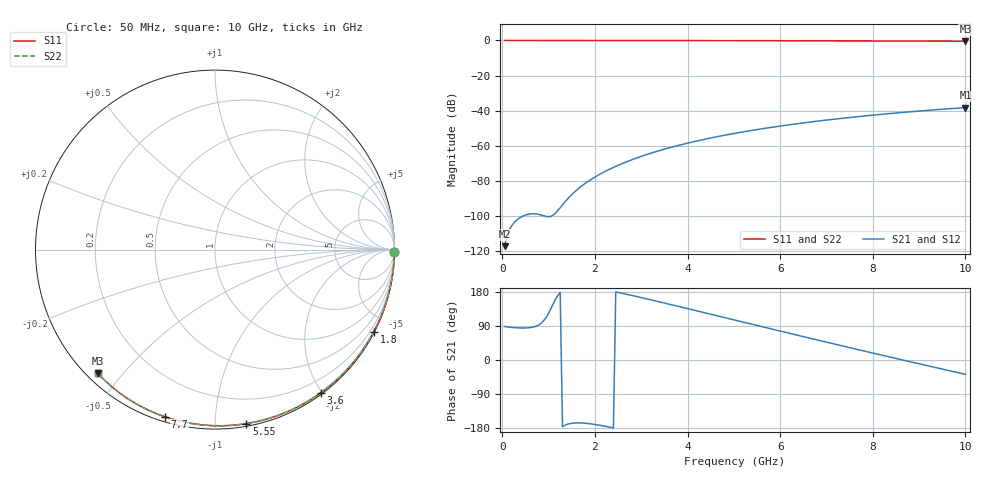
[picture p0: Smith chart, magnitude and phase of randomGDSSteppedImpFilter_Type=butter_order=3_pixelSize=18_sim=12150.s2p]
! freq	dB(S11)	phase(S11)	dB(S12)	phase(S12)
!  dB(S21)	phase(S21)	dB(S22)	phase(S22)
!S-par simulation data
#  GHz  S  DB  R 50
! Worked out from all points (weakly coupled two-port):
!   200 points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, 50 MHz to 10 GHz, reference 50 ohm
!   highest |S21| = -38.25 dB at 10 GHz (marker M1); lowest = -117.2 dB at 50 MHz (marker M2)
!   lowest |S11| = -0.5 dB at 10 GHz (marker M3), VSWR 38.53, Z = 1.54 - j21.4 ohm
!   |S11| at or under -10 dB: nowhere
!   |S22| runs from -0.5 to 0.0 dB; largest |S21 - S12| = 0
!   S11 on the Smith chart (normalised r, x): 50 MHz: open; 1.8 GHz: 0.04, -4.11; 3.6 GHz: 0.02, -1.99; 5.55 GHz: 0.02, -1.20; 7.7 GHz: 0.02, -0.75; 10 GHz: 0.03, -0.43
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0.05  -0.00 -0.8  -117.21 88.5  -117.21 88.5  -0.00 -0.8
0.9  -0.02 -13.8  -99.94 104.8  -99.94 104.8  -0.02 -13.8
1.75  -0.03 -26.6  -82.22 -166.5  -82.22 -166.5  -0.03 -26.6
1.8  -0.03 -27.3  -81.27 -167.0  -81.27 -167.0  -0.03 -27.3
1.85  -0.04 -28.1  -80.36 -167.6  -80.36 -167.6  -0.04 -28.1
1.9  -0.04 -28.8  -79.49 -168.4  -79.49 -168.4  -0.04 -28.8
2.05  -0.04 -31.0  -77.07 -171.1  -77.07 -171.1  -0.04 -31.0
2.25  -0.04 -34.0  -74.23 -175.5  -74.23 -175.5  -0.04 -34.0
2.45  -0.05 -36.9  -71.72 179.6  -71.72 179.6  -0.05 -36.9
2.65  -0.05 -39.8  -69.48 174.4  -69.48 174.4  -0.05 -39.8
3  -0.06 -44.9  -66.05 164.7  -66.05 164.7  -0.06 -44.9
3.4  -0.07 -50.6  -62.70 153.3  -62.70 153.3  -0.07 -50.6
3.6  -0.07 -53.4  -61.21 147.5  -61.21 147.5  -0.07 -53.4
4.3  -0.09 -63.1  -56.69 126.8  -56.69 126.8  -0.09 -63.1
5.05  -0.11 -73.2  -52.78 104.5  -52.78 104.5  -0.11 -73.2
5.55  -0.13 -79.8  -50.55 89.7  -50.55 89.7  -0.13 -79.8
6.1  -0.15 -86.9  -48.39 73.4  -48.39 73.4  -0.15 -86.9
6.7  -0.18 -94.4  -46.30 55.8  -46.30 55.8  -0.18 -94.4
7.7  -0.24 -106.6  -43.34 26.9  -43.34 26.9  -0.24 -106.6
8.35  -0.29 -114.3  -41.69 8.3  -41.69 8.3  -0.29 -114.3
9.15  -0.36 -123.7  -39.90 -14.2  -39.90 -14.2  -0.36 -123.7
10  -0.45 -133.6  -38.25 -37.9  -38.25 -37.9  -0.45 -133.6
